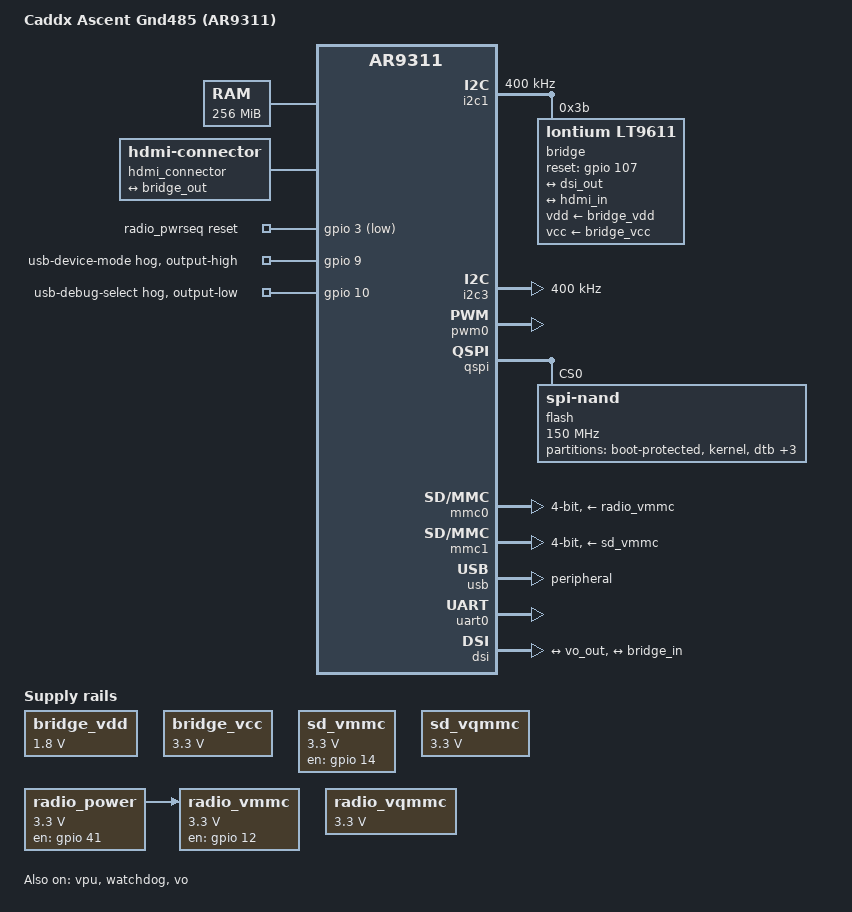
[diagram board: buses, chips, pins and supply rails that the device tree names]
// SPDX-License-Identifier: GPL-2.0-or-later
/* Ascent Gnd485 wiring, stock firmware contract and NAND layout.
 * Keep board memory reservations, power sequencing and display setup here.
 */
/dts-v1/;
#include "ar9311.dtsi"

/ {
	model = "Caddx Ascent Gnd485 (AR9311)";
	compatible = "caddx,ascent-gnd485", "artosyn,proxima-9311";

	aliases {
		serial0 = &uart0;
		i2c1 = &i2c1;
		i2c3 = &i2c3;
	};

	chosen {
		stdout-path = "serial0:1152000n8";
		bootargs = "console=ttyS0,1152000 earlycon loglevel=7 mem=256M rdinit=/init";
	};

	/* Stock reserves the upper 256 MiB for codec DMA. */
	memory@20000000 {
		device_type = "memory";
		reg = <0 0x20000000 0 0x10000000>;
	};

	reserved-memory {
		#address-cells = <2>;
		#size-cells = <2>;
		ranges;

		/* Preserve the secure-firmware range declared by the stock DT. */
		atf@23400000 {
			reg = <0 0x23400000 0 0x00c00000>;
			no-map;
		};

		/* Outside kernel/DT/initrd USB transfer destinations and the
		 * codec pool. Retained across warm resets, not power loss.
		 */
		ramoops@2ff00000 {
			compatible = "ramoops";
			reg = <0 0x2ff00000 0 0x00100000>;
			record-size = <0x20000>;
			console-size = <0x40000>;
			pmsg-size = <0x20000>;
			no-map;
		};

		/* Stock Gnd485 media MMZ: upper 256 MiB of physical DRAM,
		 * outside mem=256M Linux RAM. Only the codec owns this pool.
		 */
		codec_memory: codec-memory@30000000 {
			compatible = "shared-dma-pool";
			reg = <0 0x30000000 0 0x10000000>;
			no-map;
		};
	};

	hdmi_connector {
		compatible = "hdmi-connector";
		type = "a";
		port {
			hdmi_in: endpoint {
				remote-endpoint = <&bridge_out>;
			};
		};
	};

	bridge_vdd: regulator-bridge-vdd {
		compatible = "regulator-fixed";
		regulator-name = "bridge-vdd-always-on";
		regulator-min-microvolt = <1800000>;
		regulator-max-microvolt = <1800000>;
		regulator-always-on;
	};

	bridge_vcc: regulator-bridge-vcc {
		compatible = "regulator-fixed";
		regulator-name = "bridge-vcc-always-on";
		regulator-min-microvolt = <3300000>;
		regulator-max-microvolt = <3300000>;
		regulator-always-on;
	};

	psci {
		compatible = "arm,psci-1.0";
		method = "smc";
	};

	/* SD power/voltage and radio GPIO assignments are Gnd485 wiring. */
	sd_vmmc: regulator-sd-vmmc {
		compatible = "regulator-fixed";
		regulator-name = "sd-3v3";
		regulator-min-microvolt = <3300000>;
		regulator-max-microvolt = <3300000>;
		gpio = <&gpio 14 GPIO_ACTIVE_HIGH>;
		enable-active-high;
		regulator-boot-on;
		regulator-always-on;
	};

	sd_vqmmc: regulator-sd-vqmmc {
		compatible = "regulator-gpio";
		regulator-name = "sd-vqmmc";
		regulator-min-microvolt = <3300000>;
		regulator-max-microvolt = <3300000>;
		regulator-always-on;
		gpios = <&gpio 36 GPIO_ACTIVE_HIGH>;
		gpios-states = <1>;
		states = <3300000 1>;
	};

	radio_power: regulator-radio-power {
		compatible = "regulator-fixed";
		regulator-name = "radio-power";
		regulator-min-microvolt = <3300000>;
		regulator-max-microvolt = <3300000>;
		gpio = <&gpio 41 GPIO_ACTIVE_HIGH>;
		enable-active-high;
		regulator-boot-on;
		regulator-always-on;
		startup-delay-us = <100000>;
	};

	radio_vmmc: regulator-radio-vmmc {
		compatible = "regulator-fixed";
		regulator-name = "radio-3v3";
		vin-supply = <&radio_power>;
		regulator-min-microvolt = <3300000>;
		regulator-max-microvolt = <3300000>;
		gpio = <&gpio 12 GPIO_ACTIVE_HIGH>;
		enable-active-high;
		regulator-boot-on;
		regulator-always-on;
		startup-delay-us = <100000>;
	};

	radio_vqmmc: regulator-radio-vqmmc {
		compatible = "regulator-gpio";
		regulator-name = "radio-vqmmc";
		regulator-min-microvolt = <3300000>;
		regulator-max-microvolt = <3300000>;
		gpios = <&gpio 35 GPIO_ACTIVE_HIGH>;
		gpios-states = <1>;
		states = <3300000 1>;
	};

	radio_pwrseq: radio-pwrseq {
		compatible = "artosyn,ar8030-pwrseq";
		reset-gpios = <&gpio 3 GPIO_ACTIVE_LOW>;
	};
};

&cpu0 {
	enable-method = "psci";
};

&cpu1 {
	enable-method = "psci";
};

&vpu {
	status = "okay";
	memory-region = <&codec_memory>;
};

&i2c1 {
	status = "okay";
	clock-frequency = <400000>;
	i2c-sda-hold-time-ns = <300>;
	i2c-sda-falling-time-ns = <300>;
	i2c-scl-falling-time-ns = <300>;
	bridge@3b {
		compatible = "lontium,lt9611";
		lontium,page-select-quirk;
		lontium,ascent-hdmi-quirk;
		reg = <0x3b>;
		reset-gpios = <&gpio 107 GPIO_ACTIVE_HIGH>;
		vdd-supply = <&bridge_vdd>;
		vcc-supply = <&bridge_vcc>;
		/* GPIO106 IRQ is not wired into Linux; poll connector status. */
		ports {
			#address-cells = <1>;
			#size-cells = <0>;
			port@0 {
				reg = <0>;
				bridge_in: endpoint {
					remote-endpoint = <&dsi_out>;
				};
			};
			port@2 {
				reg = <2>;
				bridge_out: endpoint {
					remote-endpoint = <&hdmi_in>;
				};
			};
		};
	};
};

/* Front-panel ADC: stock reads register 0 at 7-bit address 0x54.
 * Kestrel owns decoding/debounce through i2c-dev. Do not bind an EEPROM
 * driver solely because the address resembles one.
 */
&i2c3 {
	status = "okay";
	clock-frequency = <400000>;
	i2c-sda-hold-time-ns = <300>;
	i2c-sda-falling-time-ns = <300>;
	i2c-scl-falling-time-ns = <300>;
};

/* Beeper: channel 0, stock 1 kHz tone with duty-controlled volume.
 * Leave the channel unclaimed for the application's feedback scheduler.
 */
&pwm0 {
	status = "okay";
};

&qspi {
	status = "okay";
	flash@0 {
		compatible = "spi-nand";
		reg = <0>;
		spi-max-frequency = <150000000>;
		partitions {
			/* The parser maps these bank roles from validated GPT, not
			 * from a presumed stock-update parity. Never modifies GPT. */
			compatible = "fpvos,ar9311-partitions";
			#address-cells = <1>;
			#size-cells = <1>;
			partition@0 {
				label = "boot-protected";
				reg = <0x0 0xb40000>;
				read-only;
			};
			partition@b40000 {
				label = "kernel";
				reg = <0xb40000 0x600000>;
			};
			partition@1140000 {
				label = "dtb";
				reg = <0x1140000 0x60000>;
			};
			partition@11a0000 {
				label = "vendor-rootfs";
				reg = <0x11a0000 0x1500000>;
				read-only;
			};
			partition@26a0000 {
				label = "fpvos";
				reg = <0x26a0000 0x1500000>;
			};
			partition@3ba0000 {
				label = "vendor-data";
				reg = <0x3ba0000 0x4460000>;
				read-only;
			};
		};
	};
};

&gpio {
	status = "okay";

	/* Stock run.sh: keep the native USB connector in debug/device
	 * mode when the GPIO bank direction shadow becomes active.
	 */
	usb-device-hog {
		gpio-hog;
		gpios = <9 GPIO_ACTIVE_HIGH>;
		output-high;
		line-name = "usb-device-mode";
	};
	usb-debug-hog {
		gpio-hog;
		gpios = <10 GPIO_ACTIVE_HIGH>;
		output-low;
		line-name = "usb-debug-select";
	};
};

&mmc_clocks {
	status = "okay";
	artosyn,clock-config = <0x87 2>, <0x80 0>;
};

&mmc0 {
	status = "okay";
	clock-frequency = <100000000>;
	max-frequency = <50000000>;
	bus-width = <4>;
	cap-sd-highspeed;
	cap-sdio-irq;
	broken-cd;
	no-mmc;
	no-sd;
	no-1-8-v;
	vmmc-supply = <&radio_vmmc>;
	vqmmc-supply = <&radio_vqmmc>;
	mmc-pwrseq = <&radio_pwrseq>;
};

&mmc1 {
	status = "okay";
	clock-frequency = <100000000>;
	max-frequency = <50000000>;
	card-detect-delay = <200>;
	vmmc-supply = <&sd_vmmc>;
	vqmmc-supply = <&sd_vqmmc>;
	bus-width = <4>;
	cap-sd-highspeed;
	disable-wp;
	no-1-8-v;
	no-mmc;
	no-sdio;
};

&usb {
	status = "okay";
	dr_mode = "peripheral";
};

&uart0 {
	status = "okay";
};

&watchdog {
	status = "okay";
};

/* Select the validated output profile; wiring remains board-specific. */
&vo {
	status = "okay";
	artosyn,display-profile = "ascent-hdmi";
	port {
		vo_out: endpoint {
			remote-endpoint = <&dsi_in>;
		};
	};
};

&dsi {
	status = "okay";
	artosyn,display-profile = "ascent-hdmi";
	ports {
		#address-cells = <1>;
		#size-cells = <0>;
		port@0 {
			reg = <0>;
			dsi_in: endpoint {
				remote-endpoint = <&vo_out>;
			};
		};
		port@1 {
			reg = <1>;
			dsi_out: endpoint {
				remote-endpoint = <&bridge_in>;
			};
		};
	};
};
